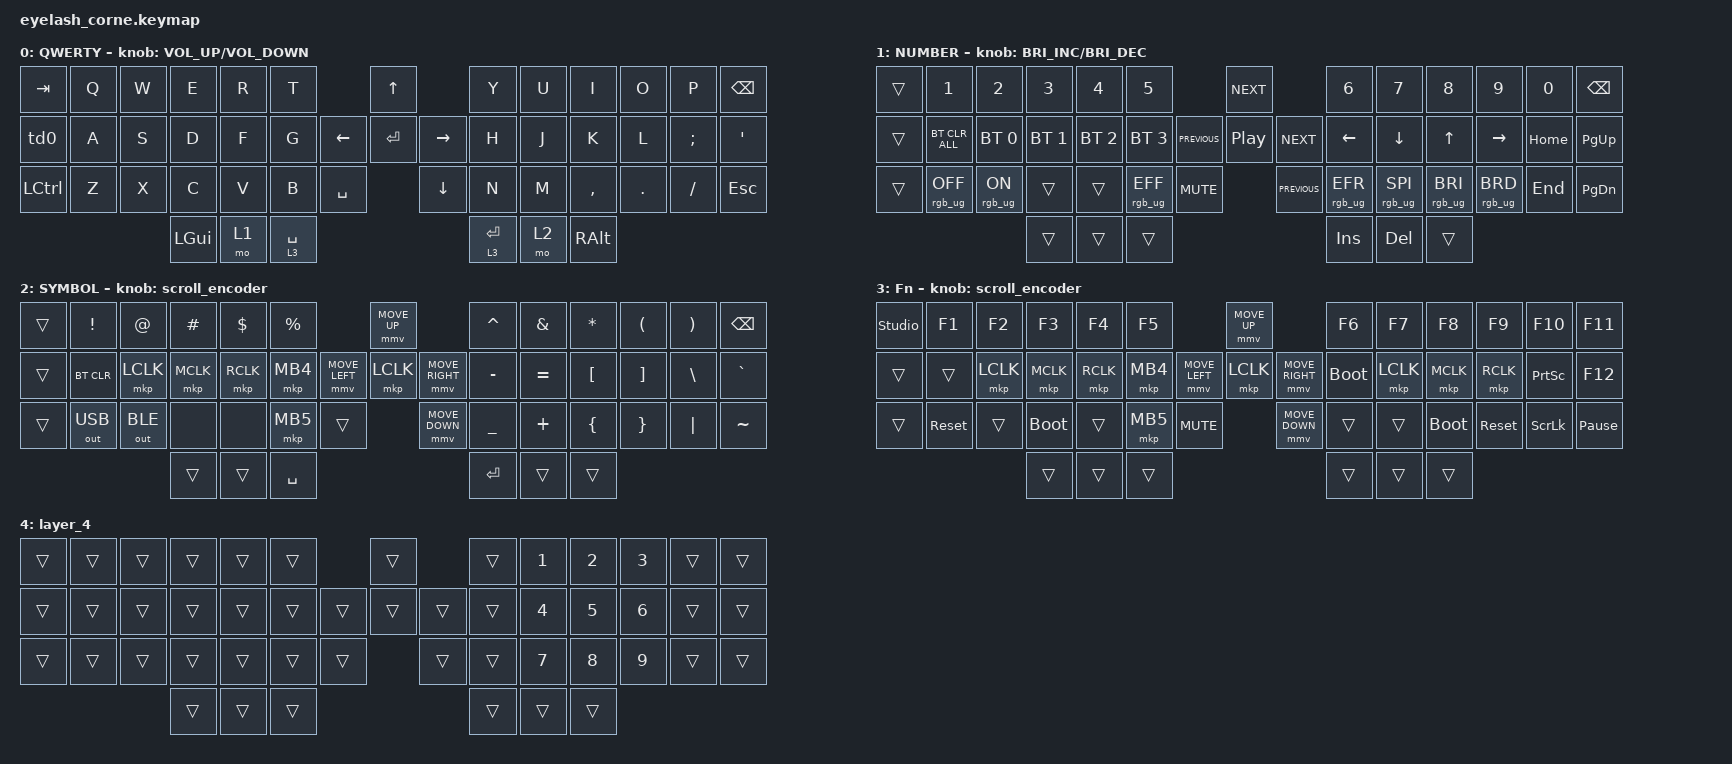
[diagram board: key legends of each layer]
#include <dt-bindings/zmk/mouse.h>
#include <input/processors.dtsi>
#include <behaviors.dtsi>
#include <dt-bindings/zmk/bt.h>
#include <dt-bindings/zmk/keys.h>
#include <dt-bindings/zmk/outputs.h>
#include <dt-bindings/zmk/pointing.h>
#include <dt-bindings/zmk/rgb.h>

/*

   &mmv_input_listener {
       input-processors = <&zip_xy_scaler 2 1>;
   };

   &msc_input_listener {
       input-processors = <&zip_xy_scaler 2 1>;
   };

 */

#define ZMK_MOUSE_DEFAULT_MOVE_VAL 1200  // 600
#define ZMK_MOUSE_DEFAULT_SCRL_VAL 20    // 10

/ {
    behaviors {
        td0: td0 {
            compatible = "zmk,behavior-tap-dance";
            display-name = "Shift/Caps Lock Tap Dance";
            #binding-cells = <0>;
            bindings = <&kp LEFT_SHIFT>, <&kp CAPS>;
        };
    };

    rgb_encoder: rgb_encoder {
        compatible = "zmk,behavior-sensor-rotate";
        #sensor-binding-cells = <0>;
        bindings = <&rgb_ug RGB_BRI>, <&rgb_ug RGB_BRD>;
    };

    scroll_encoder: scroll_encoder {
        compatible = "zmk,behavior-sensor-rotate";
        #sensor-binding-cells = <0>;
        bindings = <&msc SCRL_DOWN>, <&msc SCRL_UP>;

        tap-ms = <30>;
    };

    combos {
        compatible = "zmk,combos";

        escape {
            bindings = <&kp ESCAPE>;
            key-positions = <23 24>;
            layers = <0>;
            timeout-ms = <50>;
        };

        layer4 {
            bindings = <&mo 4>;
            key-positions = <44 45>;
        };
    };

    keymap {
        compatible = "zmk,keymap";

        default_layer {
            display-name = "QWERTY";
            bindings = <
&kp TAB    &kp Q  &kp W  &kp E     &kp R  &kp T                               &kp UP                &kp Y      &kp U  &kp I      &kp O    &kp P     &kp BSPC
&td0       &kp A  &kp S  &kp D     &kp F  &kp G                     &kp LEFT  &kp ENTER  &kp RIGHT  &kp H      &kp J  &kp K      &kp L    &kp SEMI  &kp SQT
&kp LCTRL  &kp Z  &kp X  &kp C     &kp V  &kp B        &kp SPACE              &kp DOWN              &kp N      &kp M  &kp COMMA  &kp DOT  &kp FSLH  &kp ESC
                         &kp LGUI  &mo 1  &lt 3 SPACE                                               &lt 3 RET  &mo 2  &kp RALT
            >;

            sensor-bindings = <&inc_dec_kp C_VOLUME_UP C_VOLUME_DOWN>;
        };

        lower_layer {
            display-name = "NUMBER";
            bindings = <
&trans  &kp N1           &kp N2          &kp N3        &kp N4        &kp N5                                         &kp C_NEXT                    &kp N6           &kp N7           &kp N8           &kp N9           &kp N0    &kp BSPC
&trans  &bt BT_CLR_ALL   &bt BT_SEL 0    &bt BT_SEL 1  &bt BT_SEL 2  &bt BT_SEL 3                   &kp C_PREVIOUS  &kp C_PLAY_PAUSE  &kp C_NEXT  &kp LEFT         &kp DOWN         &kp UP           &kp RIGHT        &kp HOME  &kp PG_UP
&trans  &rgb_ug RGB_OFF  &rgb_ug RGB_ON  &trans        &trans        &rgb_ug RGB_EFF  &kp C_MUTE                    &kp C_PREVIOUS                &rgb_ug RGB_EFR  &rgb_ug RGB_SPI  &rgb_ug RGB_BRI  &rgb_ug RGB_BRD  &kp END   &kp PG_DN
                                         &trans        &trans        &trans                                                                       &kp INS          &kp DEL          &trans
            >;

            sensor-bindings = <&inc_dec_kp C_BRIGHTNESS_INC C_BRIGHTNESS_DEC>;
        };

        raise_layer {
            display-name = "SYMBOL";
            bindings = <
&trans  &kp EXCL      &kp AT        &kp HASH   &kp DLLR   &kp PRCNT                            &mmv MOVE_UP                     &kp CARET  &kp AMPS   &kp ASTRK  &kp LPAR  &kp RPAR  &kp BSPC
&trans  &bt BT_CLR    &mkp LCLK     &mkp MCLK  &mkp RCLK  &mkp MB4             &mmv MOVE_LEFT  &mkp LCLK       &mmv MOVE_RIGHT  &kp MINUS  &kp EQUAL  &kp LBKT   &kp RBKT  &kp BSLH  &kp GRAVE
&trans  &out OUT_USB  &out OUT_BLE  &none      &none      &mkp MB5   &trans                    &mmv MOVE_DOWN                   &kp UNDER  &kp PLUS   &kp LBRC   &kp RBRC  &kp PIPE  &kp TILDE
                                    &trans     &trans     &kp SPACE                                                             &kp RET    &trans     &trans
            >;

            sensor-bindings = <&scroll_encoder>;
        };

        layer_3 {
            display-name = "Fn";
            bindings = <
&studio_unlock  &kp F1      &kp F2     &kp F3       &kp F4     &kp F5                                  &mmv MOVE_UP                     &kp F6       &kp F7     &kp F8       &kp F9      &kp F10          &kp F11
&trans          &trans      &mkp LCLK  &mkp MCLK    &mkp RCLK  &mkp MB4                &mmv MOVE_LEFT  &mkp LCLK       &mmv MOVE_RIGHT  &bootloader  &mkp LCLK  &mkp MCLK    &mkp RCLK   &kp PRINTSCREEN  &kp F12
&trans          &sys_reset  &trans     &bootloader  &trans     &mkp MB5  &kp C_MUTE                    &mmv MOVE_DOWN                   &trans       &trans     &bootloader  &sys_reset  &kp SCROLLLOCK   &kp PAUSE_BREAK
                                       &trans       &trans     &trans                                                                   &trans       &trans     &trans
            >;

            sensor-bindings = <&scroll_encoder>;
        };

        layer_4 {
            bindings = <
&trans  &trans  &trans  &trans  &trans  &trans                    &trans          &trans  &kp NUMBER_1  &kp NUMBER_2  &kp NUMBER_3  &trans  &trans
&trans  &trans  &trans  &trans  &trans  &trans            &trans  &trans  &trans  &trans  &kp NUMBER_4  &kp N5        &kp NUMBER_6  &trans  &trans
&trans  &trans  &trans  &trans  &trans  &trans  &trans            &trans          &trans  &kp N7        &kp N8        &kp N9        &trans  &trans
                        &trans  &trans  &trans                                    &trans  &trans        &trans
            >;
        };
    };
};
